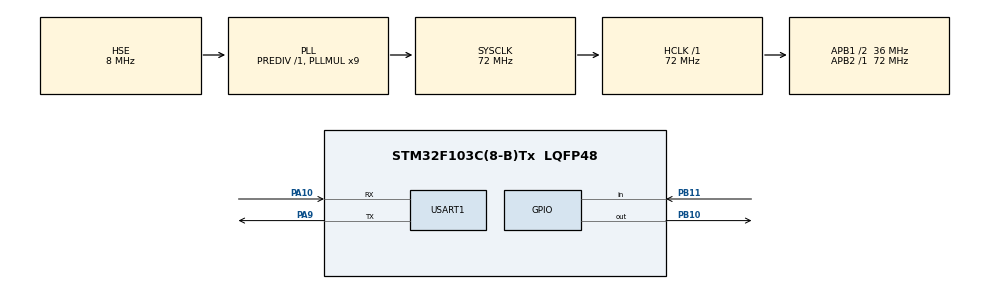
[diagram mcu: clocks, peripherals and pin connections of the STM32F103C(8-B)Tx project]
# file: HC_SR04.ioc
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Mcu.Family=STM32F1
Mcu.Name=STM32F103C(8-B)Tx
Mcu.Package=LQFP48
NVIC.PriorityGroup=NVIC_PRIORITYGROUP_4
NVIC.TIM2_IRQn=true\:0\:0\:false\:false\:true\:true\:true\:true
PA10.Mode=Asynchronous
PA10.Signal=USART1_RX
PA13.Mode=Serial_Wire
PA13.Signal=SYS_JTMS-SWDIO
PA14.Mode=Serial_Wire
PA14.Signal=SYS_JTCK-SWCLK
PA9.Mode=Asynchronous
PA9.Signal=USART1_TX
PB10.GPIO_Speed=GPIO_SPEED_FREQ_HIGH
PB10.PinState=GPIO_PIN_RESET
PB10.Signal=GPIO_Output
PB11.Signal=GPIO_Input
PD0-OSC_IN.Mode=HSE-External-Oscillator
PD0-OSC_IN.Signal=RCC_OSC_IN
PD1-OSC_OUT.Mode=HSE-External-Oscillator
PD1-OSC_OUT.Signal=RCC_OSC_OUT
ProjectManager.HeapSize=0x200
ProjectManager.StackSize=0x400
ProjectManager.TargetToolchain=MDK-ARM V5.32
RCC.AHBFreq_Value=72000000
RCC.APB1CLKDivider=RCC_HCLK_DIV2
RCC.APB1Freq_Value=36000000
RCC.APB1TimFreq_Value=72000000
RCC.APB2Freq_Value=72000000
RCC.APB2TimFreq_Value=72000000
RCC.HCLKFreq_Value=72000000
RCC.PLLMUL=RCC_PLL_MUL9
RCC.PLLSourceVirtual=RCC_PLLSOURCE_HSE
RCC.SYSCLKFreq_VALUE=72000000
RCC.SYSCLKSource=RCC_SYSCLKSOURCE_PLLCLK
RCC.USBFreq_Value=72000000
TIM1.AutoReloadPreload=TIM_AUTORELOAD_PRELOAD_DISABLE
TIM1.Period=65535
TIM1.Prescaler=71
TIM2.Prescaler=71
USART1.VirtualMode=VM_ASYNC
VP_TIM1_VS_ClockSourceINT.Mode=Internal
VP_TIM2_VS_ClockSourceINT.Mode=Internal
board=custom

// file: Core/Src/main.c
/* USER CODE BEGIN Header */
/**
 ******************************************************************************
 * @file           : main.c
 * @brief          : Main program body
 ******************************************************************************
 * @attention
 *
 * Copyright (c) 2024 STMicroelectronics.
 * All rights reserved.
 *
 * This software is licensed under terms that can be found in the LICENSE file
 * in the root directory of this software component.
 * If no LICENSE file comes with this software, it is provided AS-IS.
 *
 ******************************************************************************
 */
/* USER CODE END Header */
#include "main.h"
#include "tim.h"
#include "usart.h"
#include "gpio.h"

/* USER CODE BEGIN Includes */
#include "HC_SR04.h"
#include "oled.h"
#include <stdio.h>
/* USER CODE END Includes */

/* USER CODE BEGIN PV */
#ifdef __GNUC__
#define PUTCHAR_PROTOTYPE int __io_putchar(int ch)
int _write(int file, char *ptr, int len)
{
    int DataIdx;
    for (DataIdx = 0; DataIdx < len; DataIdx++) {
        __io_putchar(*ptr++);
    }
    return len;
}
#else
#define PUTCHAR_PROTOTYPE int fputc(int ch, FILE *f)
#endif

PUTCHAR_PROTOTYPE
{
    HAL_UART_Transmit(&huart1, (uint8_t *)&ch, 1, HAL_MAX_DELAY);
    return ch;
}
/* USER CODE END PV */

void SystemClock_Config(void);
/* USER CODE BEGIN PFP */
void Show_DAT(HC_SR04 *l_uc);
/* USER CODE END PFP */

/* USER CODE BEGIN 0 */
/*
                    UC的数据结构
    |0  |  1    |   2   |   3  |   4   |...| End |
    |帧头|超声波1|超声波2|超声波3|超声波4|...|帧尾|
*/
HC_SR04 UC[10] = {0x00};
/* USER CODE END 0 */

int main(void)
{

    /* MCU Configuration--------------------------------------------------------*/

    /* Reset of all peripherals, Initializes the Flash interface and the Systick. */
    HAL_Init();

    /* Configure the system clock */
    SystemClock_Config();

    /* Initialize all configured peripherals */
    MX_GPIO_Init();
    MX_TIM1_Init();
    MX_USART1_UART_Init();
    MX_TIM2_Init();
    /* USER CODE BEGIN 2 */
    HC_SR_Init(&UC[1]);
    // OLED_Init();
    /* USER CODE END 2 */

    /* Infinite loop */
    /* USER CODE BEGIN WHILE */
    while (1) {
        // 如果收到启动命令
        if (Ultrasonic_Download()) {
            // 响应主机
            Ultrasonic_ACK();
            // 启动测量
            Multi_Measure(&UC[1]);
            // 上传数据
            Ultrasonic_Upload(&UC[1]);
            // Show_DAT(&UC[1]);
        }

        /* USER CODE END WHILE */

    }
}

void SystemClock_Config(void)
{
    RCC_OscInitTypeDef RCC_OscInitStruct = {0};
    RCC_ClkInitTypeDef RCC_ClkInitStruct = {0};

    /** Initializes the RCC Oscillators according to the specified parameters
     * in the RCC_OscInitTypeDef structure.
     */
    RCC_OscInitStruct.OscillatorType = RCC_OSCILLATORTYPE_HSE;
    RCC_OscInitStruct.HSEState       = RCC_HSE_ON;
    RCC_OscInitStruct.HSEPredivValue = RCC_HSE_PREDIV_DIV1;
    RCC_OscInitStruct.HSIState       = RCC_HSI_ON;
    RCC_OscInitStruct.PLL.PLLState   = RCC_PLL_ON;
    RCC_OscInitStruct.PLL.PLLSource  = RCC_PLLSOURCE_HSE;
    RCC_OscInitStruct.PLL.PLLMUL     = RCC_PLL_MUL9;
    if (HAL_RCC_OscConfig(&RCC_OscInitStruct) != HAL_OK) {
        Error_Handler();
    }

    /** Initializes the CPU, AHB and APB buses clocks
     */
    RCC_ClkInitStruct.ClockType      = RCC_CLOCKTYPE_HCLK | RCC_CLOCKTYPE_SYSCLK | RCC_CLOCKTYPE_PCLK1 | RCC_CLOCKTYPE_PCLK2;
    RCC_ClkInitStruct.SYSCLKSource   = RCC_SYSCLKSOURCE_PLLCLK;
    RCC_ClkInitStruct.AHBCLKDivider  = RCC_SYSCLK_DIV1;
    RCC_ClkInitStruct.APB1CLKDivider = RCC_HCLK_DIV2;
    RCC_ClkInitStruct.APB2CLKDivider = RCC_HCLK_DIV1;

    if (HAL_RCC_ClockConfig(&RCC_ClkInitStruct, FLASH_LATENCY_2) != HAL_OK) {
        Error_Handler();
    }
}

/* USER CODE BEGIN 4 */
/**
 * @brief 显示测量数据
 *
 * @param l_uc 传入的是第一个超声波的地�?
 * @param id 超声波的位号
 */
void Show_DAT(HC_SR04 *l_uc)
{
    char id = 0;
    for (uint8_t i = 1; i < 5; i++) {

        OLED_ShowNum(1, i, id++, ID_LENGTH);
        OLED_ShowNum(5, i, l_uc->data, DATA_LENGTH);
        l_uc++;
        OLED_ShowNum(9, i, id++, ID_LENGTH);
        OLED_ShowNum(13, i, l_uc->data, DATA_LENGTH);
        l_uc++;
    }
}
/* USER CODE END 4 */

void Error_Handler(void)
{
    __disable_irq();
    while (1) {
    }
}
